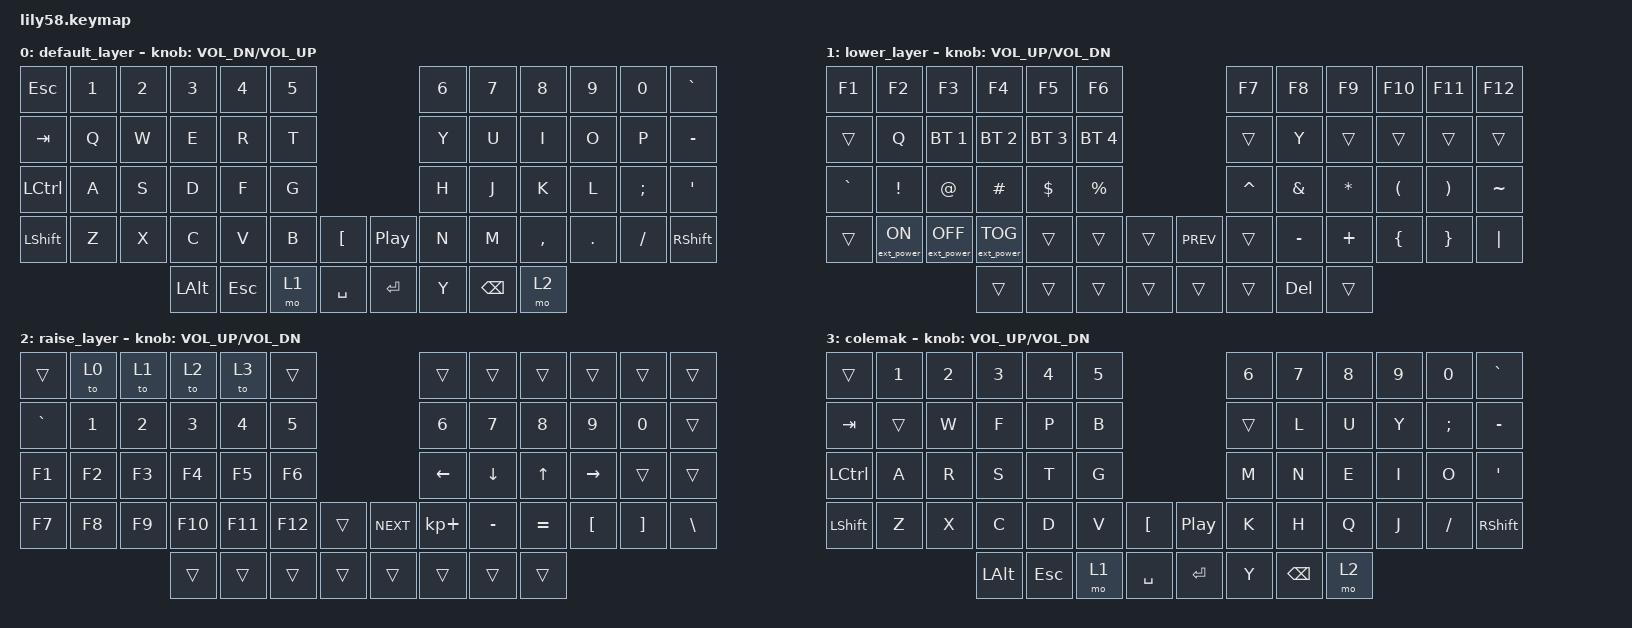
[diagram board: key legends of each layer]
/*
 * Copyright (c) 2020 The ZMK Contributors
 *
 * SPDX-License-Identifier: MIT
 */

#include <behaviors.dtsi>
#include <dt-bindings/zmk/keys.h>
#include <dt-bindings/zmk/bt.h>
#include <dt-bindings/zmk/ext_power.h>

/ {
    keymap {
        compatible = "zmk,keymap";

        default_layer {
// ------------------------------------------------------------------------------------------------------------
// |  ESC  |  1  |  2  |  3   |  4   |  5   |                   |  6   |  7    |  8    |  9   |   0   |   `   |
// |  TAB  |  Q  |  W  |  E   |  R   |  T   |                   |  Y   |  U    |  I    |  O   |   P   |   -   |
// |  CTRL |  A  |  S  |  D   |  F   |  G   |                   |  H   |  J    |  K    |  L   |   ;   |   '   |
// | SHIFT |  Z  |  X  |  C   |  V   |  B   |   "["  |  |  Play |  N   |  M    |  ,    |  .   |   /   | SHIFT |
//                     | ALT  | ESC  | LOWER|  SPACE |  | ENTER |      | BSPC  | RAISE |
            bindings = <
&kp ESC   &kp N1 &kp N2 &kp N3   &kp N4   &kp N5                     &kp N6 &kp N7   &kp N8    &kp N9  &kp N0   &kp GRAVE
&kp TAB   &kp Q  &kp W  &kp E    &kp R    &kp T                      &kp Y  &kp U    &kp I     &kp O   &kp P    &kp MINUS
&kp LCTRL &kp A  &kp S  &kp D    &kp F    &kp G                      &kp H  &kp J    &kp K     &kp L   &kp SEMI &kp SQT
&kp LSHFT &kp Z  &kp X  &kp C    &kp V    &kp B  &kp LBKT   &kp C_PP &kp N  &kp M    &kp COMMA &kp DOT &kp FSLH &kp RSHFT
                        &kp LALT &kp ESC &mo 1  &kp SPACE  &kp RET  &kp Y  &kp BSPC &mo 2
            >;

            sensor-bindings = <&inc_dec_kp C_VOL_DN C_VOL_UP>;
        };

        lower_layer {
// ------------------------------------------------------------------------------------------------------------
// |  F1   |  F2 |  F3 |  F4  |  F5  |  F6  |                   |  F7  |  F8   |  F9   |  F10 |  F11  |  F12  |
// |       |  Q  | BT2 |  BT3 |  BT4 |  BT5 |                   |      |  Y    |       |      |       |       |
// |   `   |  !  |  @  |  #   |  $   |  %   |                   |  ^   |  &    |  *    |  (   |   )   |   ~   |
// |       |     |     |      |      |      |        |  |  Prev |      |  _    |  +    |  {   |   }   |  "|"  |
//                     |      |      |      |        |  |       |      |  DEL  |       |
            bindings = <
&kp F1     &kp F2           &kp F3            &kp F4            &kp F5       &kp F6                         &kp F7    &kp F8    &kp F9    &kp F10   &kp F11   &kp F12
&trans     &kp Q            &bt BT_SEL 1      &bt BT_SEL 2      &bt BT_SEL 3 &bt BT_SEL 4                   &trans    &kp Y     &trans    &trans    &trans    &trans
&kp GRAVE  &kp EXCL         &kp AT            &kp HASH          &kp DOLLAR   &kp PRCNT                      &kp CARET &kp AMPS  &kp ASTRK &kp LPAR  &kp RPAR  &kp TILDE
&trans     &ext_power EP_ON &ext_power EP_OFF &ext_power EP_TOG &trans       &trans     &trans    &kp C_PREV   &trans    &kp MINUS &kp PLUS  &kp LBRC  &kp RBRC  &kp PIPE
                                              &trans            &trans       &trans     &trans    &trans    &trans    &kp DEL    &trans
            >; 

            sensor-bindings = <&inc_dec_kp C_VOL_UP C_VOL_DN>;
        };

        raise_layer {
// ------------------------------------------------------------------------------------------------------------
// |       |     |     |      |      |      |                   |      |       |       |      |       |       |
// |   `   |  1  |  2  |  3   |  4   |  5   |                   |  6   |   7   |   8   |  9   |   0   |       |
// |   F1  |  F2 |  F3 |  F4  |  F5  |  F6  |                   |  <-  |   v   |  ^   |  ->   |       |       |
// |   F7  |  F8 |  F9 |  F10 |  F11 |  F12 |        |  |   Next|  +   |   -   |   =   |  [   |   ]   |   \   |
//                     |      |      |      |        |  |       |      |       |       |
            bindings = <
&trans    &to 0 &to 1 &to 2  &to 3  &trans                       &trans      &trans    &trans    &trans   &trans    &trans
&kp GRAVE &kp N1 &kp N2 &kp N3  &kp N4  &kp N5                       &kp N6      &kp N7    &kp N8    &kp N9   &kp N0    &trans
&kp F1    &kp F2 &kp F3 &kp F4  &kp F5  &kp F6                       &kp LEFT    &kp DOWN  &kp UP    &kp RIGHT &trans   &trans      
&kp F7    &kp F8 &kp F9 &kp F10 &kp F11 &kp F12   &trans   &kp C_NEXT &kp KP_PLUS &kp MINUS &kp EQUAL &kp LBKT &kp RBKT  &kp BSLH
                        &trans  &trans  &trans    &trans   &trans    &trans      &trans    &trans
            >;

            sensor-bindings = <&inc_dec_kp C_VOL_UP C_VOL_DN>;
        };

        colemak {
// ------------------------------------------------------------------------------------------------------------
// |  ---  |  1  |  2  |  3   |  4   |  5   |                   |  6   |  7    |  8    |  9   |   0   |   `   |
// |  TAB  | --- |  W  |  F   |  P   |  B   |                   | ---  |   L   |   U   |  Y   |   ;   |   -   |
// |  CTRL |  A  |  R  |  S   |  T   |  G   |                   |  M   |   N   |   E   |  I   |   O   |   '   |
// | SHIFT |  Z  |  X  |  C   |  D   |  V   |  ---   |  | Next  |  K   |   H   |   Q   |  J   |   /   | SHIFT |
//                     | ALT  | ESC  | LOWER|  SPACE |  | ENTER |  --- | BSPC  | RAISE |
            bindings = <
&trans    &kp N1 &kp N2 &kp N3   &kp N4   &kp N5                     &kp N6  &kp N7   &kp N8    &kp N9  &kp N0   &kp GRAVE
&kp TAB   &trans &kp W  &kp F    &kp P    &kp B                      &trans  &kp L    &kp U     &kp Y   &kp SEMI &kp MINUS
&kp LCTRL &kp A  &kp R  &kp S    &kp T    &kp G                      &kp M   &kp N    &kp E     &kp I   &kp O    &kp SQT
&kp LSHFT &kp Z  &kp X  &kp C    &kp D    &kp V  &kp LBKT   &kp C_PP &kp K   &kp H    &kp Q     &kp J   &kp FSLH &kp RSHFT
                        &kp LALT &kp ESC  &mo 1  &kp SPACE  &kp RET  &kp Y   &kp BSPC &mo 2
            >;

            sensor-bindings = <&inc_dec_kp C_VOL_UP C_VOL_DN>;
        };
    };
};
